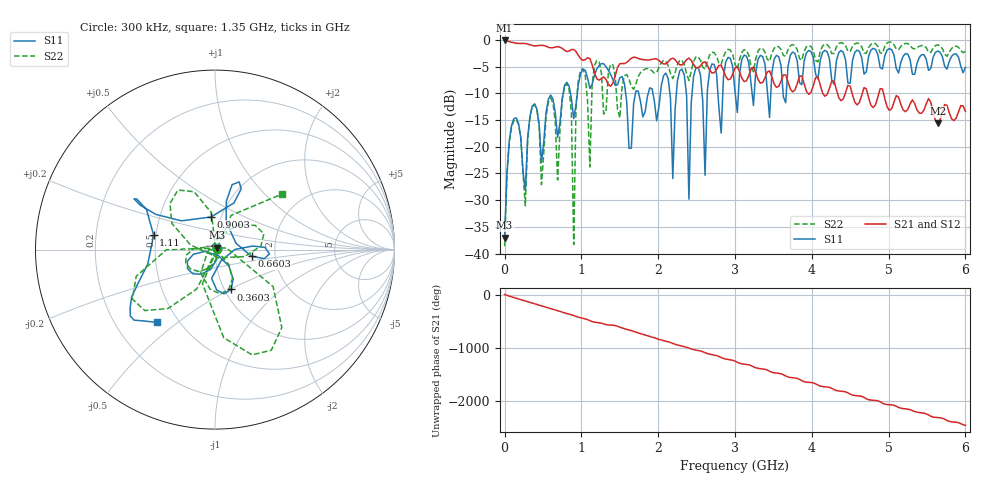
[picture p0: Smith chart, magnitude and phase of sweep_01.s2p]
! 2-port S-parameters written by miniscope-char acquisition
! instrument: Pico Technology Ltd,PicoVNA-106,10080,5.3.4
! transport: scpi
! endpoint: 127.0.0.1:5025
! demo: false
! calibration: software
# HZ S RI R 50
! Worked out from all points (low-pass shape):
!   201 points, 300 kHz to 6 GHz, reference 50 ohm
!   highest |S21| = -0.11 dB at 300 kHz (marker M1); lowest = -15.6 dB at 5.64 GHz (marker M2)
!   |S21| within 3 dB of the highest: start of sweep to 970.7 MHz
!   lowest |S11| = -37.0 dB at 300 kHz (marker M3), VSWR 1.03, Z = 51 + j1.03 ohm
!   |S11| at or under -10 dB: start of sweep to 763.6 MHz; 1.576 GHz to 1.704 GHz (128 MHz wide, 7.8 % of centre); 1.746 GHz to 1.871 GHz (124.6 MHz wide, 6.89 % of centre)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
!   |S22| runs from -38.6 to -0.4 dB; largest |S21 - S12| = 0.015
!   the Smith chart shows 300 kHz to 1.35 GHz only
!   S11 on the Smith chart (normalised r, x): 300 kHz: 1.02, +0.02; 360.3 MHz: 1.07, -0.51; 660.3 MHz: 1.51, -0.12; 900.3 MHz: 0.90, +0.34; 1.11 GHz: 0.49, +0.09; 1.35 GHz: 0.38, -0.42
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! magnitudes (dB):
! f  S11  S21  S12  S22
! 300 kHz  -37.0  -0.1  -0.2  -38.6
! 90.3 MHz  -16.1  -0.4  -0.4  -16.4
! 360.3 MHz  -12.4  -1.0  -1.0  -12.5
! 660.3 MHz  -13.7  -1.3  -1.3  -15.5
! 840.3 MHz  -8.7  -2.1  -2.1  -9.3
! 900.3 MHz  -14.7  -1.8  -1.8  -38.3
! 930.3 MHz  -12.2  -2.2  -2.2  -12.3
! 1.02 GHz  -5.5  -3.8  -3.8  -5.4
! 1.11 GHz  -9.1  -3.5  -3.5  -23.8
! 1.35 GHz  -5.7  -8.3  -8.3  -6.3
! 2.01 GHz  -12.5  -3.9  -3.8  -5.2
! 2.19 GHz  -26.0  -3.4  -3.4  -7.2
! 2.34 GHz  -6.6  -4.3  -4.3  -4.6
! 2.4 GHz  -29.8  -3.4  -3.4  -7.6
! 2.49 GHz  -5.3  -5.2  -5.2  -3.2
! 2.61 GHz  -25.3  -4.1  -4.1  -5.5
! 2.7 GHz  -4.5  -6.2  -6.2  -2.3
! 3 GHz  -9.7  -5.3  -5.3  -4.6
! 4.02 GHz  -3.3  -8.6  -8.5  -2.1
! 5.01 GHz  -1.6  -13.2  -13.2  -0.4
! 5.64 GHz  -2.1  -15.6  -15.6  -0.9
! 6 GHz  -5.2  -13.4  -13.3  -2.2
